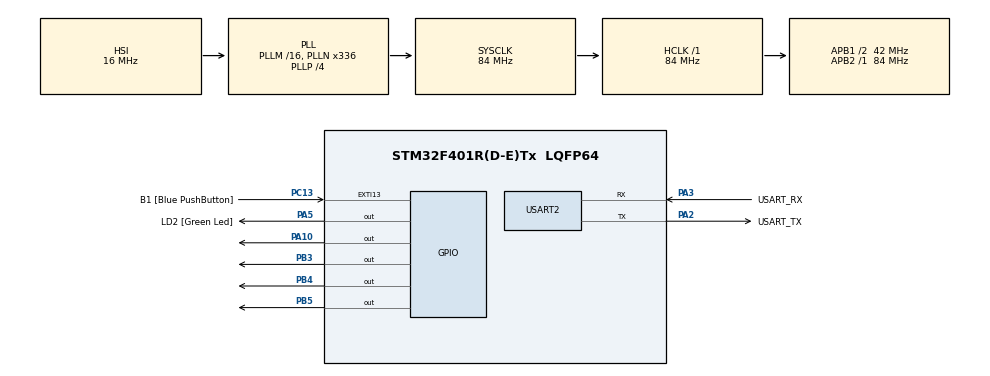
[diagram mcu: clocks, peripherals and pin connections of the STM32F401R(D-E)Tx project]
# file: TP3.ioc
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Mcu.Family=STM32F4
Mcu.Name=STM32F401R(D-E)Tx
Mcu.Package=LQFP64
NVIC.PriorityGroup=NVIC_PRIORITYGROUP_0
PA10.Signal=GPIO_Output
PA13.GPIO_Label=TMS
PA13.Mode=Serial_Wire
PA13.Signal=SYS_JTMS-SWDIO
PA14.GPIO_Label=TCK
PA14.Mode=Serial_Wire
PA14.Signal=SYS_JTCK-SWCLK
PA2.GPIO_Label=USART_TX
PA2.GPIO_Mode=GPIO_MODE_AF_PP
PA2.GPIO_PuPd=GPIO_NOPULL
PA2.GPIO_Speed=GPIO_SPEED_FREQ_LOW
PA2.Mode=Asynchronous
PA2.Signal=USART2_TX
PA3.GPIO_Label=USART_RX
PA3.GPIO_Mode=GPIO_MODE_AF_PP
PA3.GPIO_PuPd=GPIO_NOPULL
PA3.GPIO_Speed=GPIO_SPEED_FREQ_LOW
PA3.Mode=Asynchronous
PA3.Signal=USART2_RX
PA5.GPIO_Label=LD2 [Green Led]
PA5.GPIO_Mode=GPIO_MODE_OUTPUT_PP
PA5.GPIO_PuPd=GPIO_NOPULL
PA5.GPIO_Speed=GPIO_SPEED_FREQ_LOW
PA5.Signal=GPIO_Output
PB3.Signal=GPIO_Output
PB4.Signal=GPIO_Output
PB5.Signal=GPIO_Output
PC13-ANTI_TAMP.GPIO_Label=B1 [Blue PushButton]
PC13-ANTI_TAMP.GPIO_ModeDefaultEXTI=GPIO_MODE_IT_FALLING
PC13-ANTI_TAMP.GPIO_PuPd=GPIO_NOPULL
PC13-ANTI_TAMP.Signal=GPXTI13
PC14-OSC32_IN.Mode=LSE-External-Oscillator
PC14-OSC32_IN.Signal=RCC_OSC32_IN
PC15-OSC32_OUT.Mode=LSE-External-Oscillator
PC15-OSC32_OUT.Signal=RCC_OSC32_OUT
PH0\ -\ OSC_IN.Mode=HSE-External-Clock-Source
PH0\ -\ OSC_IN.Signal=RCC_OSC_IN
PH1\ -\ OSC_OUT.Mode=HSE-External-Clock-Source
PH1\ -\ OSC_OUT.Signal=RCC_OSC_OUT
ProjectManager.HeapSize=0x200
ProjectManager.StackSize=0x400
ProjectManager.TargetToolchain=STM32CubeIDE
RCC.48MHZClocksFreq_Value=48000000
RCC.AHBFreq_Value=84000000
RCC.APB1CLKDivider=RCC_HCLK_DIV2
RCC.APB1Freq_Value=42000000
RCC.APB1TimFreq_Value=84000000
RCC.APB2Freq_Value=84000000
RCC.APB2TimFreq_Value=84000000
RCC.CortexFreq_Value=84000000
RCC.HCLKFreq_Value=84000000
RCC.HSE_VALUE=8000000
RCC.HSI_VALUE=16000000
RCC.PLLN=336
RCC.PLLP=RCC_PLLP_DIV4
RCC.PLLQ=7
RCC.SYSCLKFreq_VALUE=84000000
RCC.SYSCLKSource=RCC_SYSCLKSOURCE_PLLCLK
RCC.VCOOutputFreq_Value=336000000
USART2.VirtualMode=VM_ASYNC
board=NUCLEO-F401RE

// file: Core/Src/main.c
/* USER CODE BEGIN Header */
/**
  ******************************************************************************
  * @file           : main.c
  * @brief          : Main program body
  ******************************************************************************
  * @attention
  *
  * Copyright (c) 2023 STMicroelectronics.
  * All rights reserved.
  *
  * This software is licensed under terms that can be found in the LICENSE file
  * in the root directory of this software component.
  * If no LICENSE file comes with this software, it is provided AS-IS.
  *
  ******************************************************************************
  */
/* USER CODE END Header */
#include "main.h"

/* USER CODE BEGIN Includes */
#include "API_delay.h"

/* USER CODE END Includes */

/* USER CODE BEGIN PD */

// Duracion en ms de encendido de cada led
#define LED_DUR 200

// Defino los PINes donde se conectan los LED 1 2 3
#define PIN_1 GPIO_PIN_4
#define PIN_2 GPIO_PIN_5
#define PIN_3 GPIO_PIN_3

/* USER CODE END PD */

UART_HandleTypeDef huart2;

void SystemClock_Config(void);
static void MX_GPIO_Init(void);
static void MX_USART2_UART_Init(void);

int main(void)
{
  /* USER CODE BEGIN 1 */

  delay_t delay;
  tick_t LED_Duration = LED_DUR;

  /* USER CODE END 1 */

  /* MCU Configuration--------------------------------------------------------*/

  /* Reset of all peripherals, Initializes the Flash interface and the Systick. */
  HAL_Init();

  /* Configure the system clock */
  SystemClock_Config();

  /* Initialize all configured peripherals */
  MX_GPIO_Init();
  MX_USART2_UART_Init();
  /* USER CODE BEGIN 2 */

  // Inicializo el contador
  delayInit(&delay, LED_Duration);

  /* USER CODE END 2 */

  /* Infinite loop */
  /* USER CODE BEGIN WHILE */

  while (1)
  {
	  // Encender el LED 1 y esperar a que se cumpla el retraso
	  HAL_GPIO_WritePin(GPIOB, PIN_1, 1);
	  while (delayRead(&delay) != true)
	  {
		  // Aprovechar el retardo no bloqueante
		  // Realizar otras tareas en paralelo o esperar
	  }
	  // Apagar el LED 1
	  HAL_GPIO_WritePin(GPIOB, PIN_1, 0);

	  // ***

	  // Encender el LED 2 y esperar a que se cumpla el retraso
	  HAL_GPIO_WritePin(GPIOB, PIN_2, 1);
	  while (delayRead(&delay) != true)
	  {
		  // Aprovechar el retardo no bloqueante
		  // Realizar otras tareas en paralelo o esperar
	  }
	  // Apagar el LED 2
	  HAL_GPIO_WritePin(GPIOB, PIN_2, 0);

	  // ***

	  // Encender el LED 3 y esperar a que se cumpla el retraso
	  HAL_GPIO_WritePin(GPIOB, PIN_3, 1);
	  while (delayRead(&delay) != true)
	  {
		  // Aprovechar el retardo no bloqueante
		  // Realizar otras tareas en paralelo o esperar
	  }
	  // Apagar el LED 3
	  HAL_GPIO_WritePin(GPIOB, PIN_3, 0);

	  // ***

    /* USER CODE END WHILE */

  }
}

void SystemClock_Config(void)
{
  RCC_OscInitTypeDef RCC_OscInitStruct = {0};
  RCC_ClkInitTypeDef RCC_ClkInitStruct = {0};

  /** Configure the main internal regulator output voltage
  */
  __HAL_RCC_PWR_CLK_ENABLE();
  __HAL_PWR_VOLTAGESCALING_CONFIG(PWR_REGULATOR_VOLTAGE_SCALE2);

  /** Initializes the RCC Oscillators according to the specified parameters
  * in the RCC_OscInitTypeDef structure.
  */
  RCC_OscInitStruct.OscillatorType = RCC_OSCILLATORTYPE_HSI;
  RCC_OscInitStruct.HSIState = RCC_HSI_ON;
  RCC_OscInitStruct.HSICalibrationValue = RCC_HSICALIBRATION_DEFAULT;
  RCC_OscInitStruct.PLL.PLLState = RCC_PLL_ON;
  RCC_OscInitStruct.PLL.PLLSource = RCC_PLLSOURCE_HSI;
  RCC_OscInitStruct.PLL.PLLM = 16;
  RCC_OscInitStruct.PLL.PLLN = 336;
  RCC_OscInitStruct.PLL.PLLP = RCC_PLLP_DIV4;
  RCC_OscInitStruct.PLL.PLLQ = 7;
  if (HAL_RCC_OscConfig(&RCC_OscInitStruct) != HAL_OK)
  {
    Error_Handler();
  }

  /** Initializes the CPU, AHB and APB buses clocks
  */
  RCC_ClkInitStruct.ClockType = RCC_CLOCKTYPE_HCLK|RCC_CLOCKTYPE_SYSCLK
                              |RCC_CLOCKTYPE_PCLK1|RCC_CLOCKTYPE_PCLK2;
  RCC_ClkInitStruct.SYSCLKSource = RCC_SYSCLKSOURCE_PLLCLK;
  RCC_ClkInitStruct.AHBCLKDivider = RCC_SYSCLK_DIV1;
  RCC_ClkInitStruct.APB1CLKDivider = RCC_HCLK_DIV2;
  RCC_ClkInitStruct.APB2CLKDivider = RCC_HCLK_DIV1;

  if (HAL_RCC_ClockConfig(&RCC_ClkInitStruct, FLASH_LATENCY_2) != HAL_OK)
  {
    Error_Handler();
  }
}

static void MX_USART2_UART_Init(void)
{

  huart2.Instance = USART2;
  huart2.Init.BaudRate = 115200;
  huart2.Init.WordLength = UART_WORDLENGTH_8B;
  huart2.Init.StopBits = UART_STOPBITS_1;
  huart2.Init.Parity = UART_PARITY_NONE;
  huart2.Init.Mode = UART_MODE_TX_RX;
  huart2.Init.HwFlowCtl = UART_HWCONTROL_NONE;
  huart2.Init.OverSampling = UART_OVERSAMPLING_16;
  if (HAL_UART_Init(&huart2) != HAL_OK)
  {
    Error_Handler();
  }

}

static void MX_GPIO_Init(void)
{
  GPIO_InitTypeDef GPIO_InitStruct = {0};

  /* GPIO Ports Clock Enable */
  __HAL_RCC_GPIOC_CLK_ENABLE();
  __HAL_RCC_GPIOH_CLK_ENABLE();
  __HAL_RCC_GPIOA_CLK_ENABLE();
  __HAL_RCC_GPIOB_CLK_ENABLE();

  /*Configure GPIO pin Output Level */
  HAL_GPIO_WritePin(GPIOA, LD2_Pin|GPIO_PIN_10, GPIO_PIN_RESET);

  /*Configure GPIO pin Output Level */
  HAL_GPIO_WritePin(GPIOB, GPIO_PIN_3|GPIO_PIN_4|GPIO_PIN_5, GPIO_PIN_RESET);

  /*Configure GPIO pin : B1_Pin */
  GPIO_InitStruct.Pin = B1_Pin;
  GPIO_InitStruct.Mode = GPIO_MODE_IT_FALLING;
  GPIO_InitStruct.Pull = GPIO_NOPULL;
  HAL_GPIO_Init(B1_GPIO_Port, &GPIO_InitStruct);

  /*Configure GPIO pins : LD2_Pin PA10 */
  GPIO_InitStruct.Pin = LD2_Pin|GPIO_PIN_10;
  GPIO_InitStruct.Mode = GPIO_MODE_OUTPUT_PP;
  GPIO_InitStruct.Pull = GPIO_NOPULL;
  GPIO_InitStruct.Speed = GPIO_SPEED_FREQ_LOW;
  HAL_GPIO_Init(GPIOA, &GPIO_InitStruct);

  /*Configure GPIO pins : PB3 PB4 PB5 */
  GPIO_InitStruct.Pin = GPIO_PIN_3|GPIO_PIN_4|GPIO_PIN_5;
  GPIO_InitStruct.Mode = GPIO_MODE_OUTPUT_PP;
  GPIO_InitStruct.Pull = GPIO_NOPULL;
  GPIO_InitStruct.Speed = GPIO_SPEED_FREQ_LOW;
  HAL_GPIO_Init(GPIOB, &GPIO_InitStruct);

}

void Error_Handler(void)
{
  __disable_irq();
  while (1)
  {
  }
}
